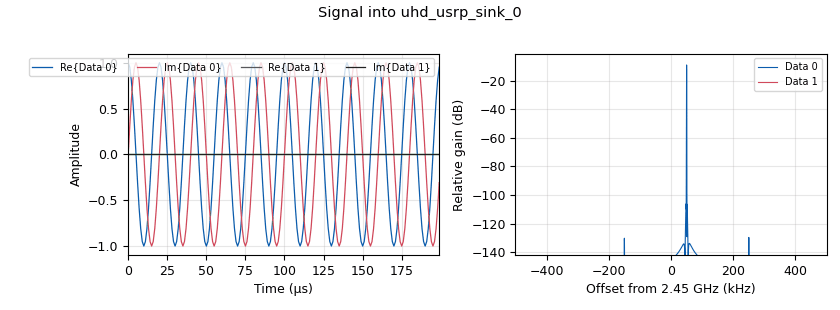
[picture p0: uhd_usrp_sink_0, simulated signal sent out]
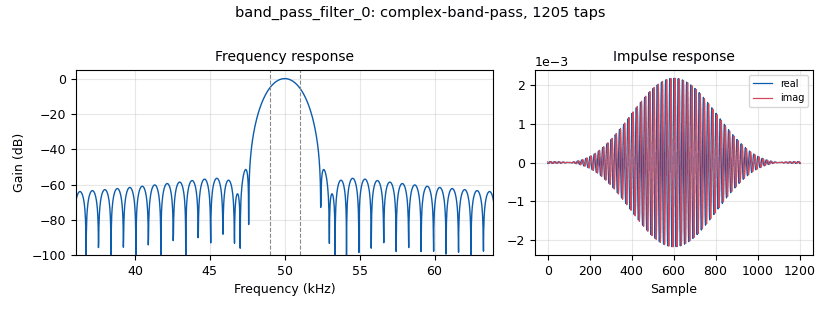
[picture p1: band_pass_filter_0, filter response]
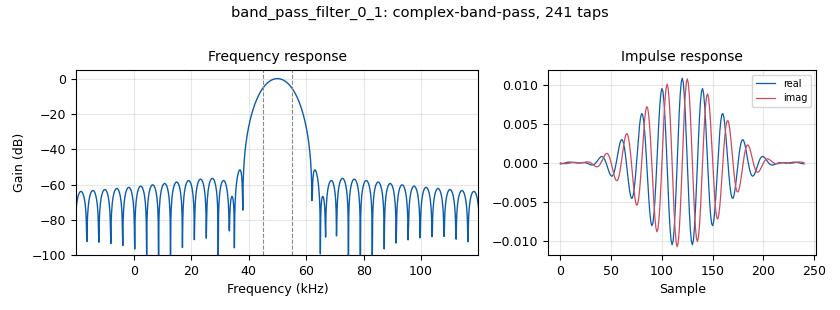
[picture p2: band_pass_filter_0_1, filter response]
options:
  parameters:
    generate_options: qt_gui
    id: run_save_phase_mag_corr_coeff_vals_filter_eval
    output_language: python
    title: Save phase mag correcting coefficient band-pas filter eval
  states: {}

blocks:
- name: center_frequency
  id: variable
  parameters:
    value: '2.45e+9'
  states: {}
- name: chan_bandwidth
  id: variable
  parameters:
    value: '500000'
  states: {}
- name: rx_gain
  id: variable
  parameters:
    value: '60'
  states: {}
- name: samp_rate
  id: variable
  parameters:
    value: '1000000'
  states: {}
- name: tx_gain
  id: variable
  parameters:
    value: '30'
  states: {}
- name: analog_sig_source_x_0
  id: analog_sig_source_x
  parameters:
    amp: '1'
    freq: 50e3
    offset: '0'
    phase: '0'
    samp_rate: samp_rate
    type: complex
    waveform: analog.GR_COS_WAVE
  states: {}
- name: aoa_calc_phase_diff_0
  id: aoa_calc_phase_diff
  parameters:
    node_idx: '1'
    norm_spacing: '0.5'
  states: {}
- name: aoa_calc_phase_diff_0_0
  id: aoa_calc_phase_diff
  parameters:
    node_idx: '1'
    norm_spacing: '0.5'
  states: {}
- name: aoa_calc_phase_diff_0_0_0
  id: aoa_calc_phase_diff
  parameters:
    node_idx: '1'
    norm_spacing: '0.5'
  states: {}
- name: band_pass_filter_0
  id: band_pass_filter
  parameters:
    decim: '1'
    gain: '1'
    high_cutoff_freq: 51e3
    low_cutoff_freq: 49e3
    samp_rate: samp_rate
    type: fir_filter_ccc
    width: 2e3
    win: firdes.WIN_HAMMING
  states: {}
- name: band_pass_filter_0_0
  id: band_pass_filter
  parameters:
    decim: '1'
    gain: '1'
    high_cutoff_freq: 51e3
    low_cutoff_freq: 49e3
    samp_rate: samp_rate
    type: fir_filter_ccc
    width: 2e3
    win: firdes.WIN_HAMMING
  states: {}
- name: band_pass_filter_0_1
  id: band_pass_filter
  parameters:
    decim: '1'
    gain: '1'
    high_cutoff_freq: 55e3
    low_cutoff_freq: 45e3
    samp_rate: samp_rate
    type: fir_filter_ccc
    width: 10e3
    win: firdes.WIN_HAMMING
  states: {}
- name: band_pass_filter_0_1_0
  id: band_pass_filter
  parameters:
    decim: '1'
    gain: '1'
    high_cutoff_freq: 55e3
    low_cutoff_freq: 45e3
    samp_rate: samp_rate
    type: fir_filter_ccc
    width: 10e3
    win: firdes.WIN_HAMMING
  states: {}
- name: blocks_complex_to_mag_0
  id: blocks_complex_to_mag
  parameters: {}
  states: {}
- name: blocks_complex_to_mag_0_0
  id: blocks_complex_to_mag
  parameters: {}
  states: {}
- name: blocks_complex_to_mag_0_0_0
  id: blocks_complex_to_mag
  parameters: {}
  states: {}
- name: blocks_complex_to_mag_0_0_0_0
  id: blocks_complex_to_mag
  parameters: {}
  states: {}
- name: blocks_complex_to_mag_0_1
  id: blocks_complex_to_mag
  parameters: {}
  states: {}
- name: blocks_complex_to_mag_0_1_0
  id: blocks_complex_to_mag
  parameters: {}
  states: {}
- name: blocks_divide_xx_0
  id: blocks_divide_xx
  parameters:
    type: float
  states: {}
- name: blocks_divide_xx_0_0
  id: blocks_divide_xx
  parameters:
    type: float
  states: {}
- name: blocks_divide_xx_0_0_0
  id: blocks_divide_xx
  parameters:
    type: float
  states: {}
- name: blocks_file_sink_0
  id: blocks_file_sink
  parameters:
    file: /home/marcin/Desktop/phase_shift_coeff_log.bin
    type: float
  states: {}
- name: blocks_file_sink_0_0
  id: blocks_file_sink
  parameters:
    file: /home/marcin/Desktop/mag_corr_coeff_log.bin
    type: float
  states: {}
- name: blocks_file_sink_0_0_0
  id: blocks_file_sink
  parameters:
    file: /home/marcin/Desktop/mag_corr_coeff_filtered_log.bin
    type: float
  states: {}
- name: blocks_file_sink_0_0_0_0
  id: blocks_file_sink
  parameters:
    file: /home/marcin/Desktop/mag_corr_coeff_sel_filtered_log.bin
    type: float
  states: {}
- name: blocks_file_sink_0_1
  id: blocks_file_sink
  parameters:
    file: /home/marcin/Desktop/phase_shift_coeff_filtered_log.bin
    type: float
  states: {}
- name: blocks_file_sink_0_1_0
  id: blocks_file_sink
  parameters:
    file: /home/marcin/Desktop/phase_shift_coeff_sel_filtered_log.bin
    type: float
  states: {}
- name: blocks_moving_average_xx_0_0
  id: blocks_moving_average_xx
  parameters:
    length: '10000'
    max_iter: '20000'
    scale: '0.0001'
    type: float
  states: {}
- name: blocks_moving_average_xx_0_0_0
  id: blocks_moving_average_xx
  parameters:
    length: '10000'
    max_iter: '20000'
    scale: '0.0001'
    type: float
  states: {}
- name: blocks_moving_average_xx_0_0_0_0
  id: blocks_moving_average_xx
  parameters:
    length: '10000'
    max_iter: '20000'
    scale: '0.0001'
    type: float
  states: {}
- name: blocks_moving_average_xx_0_0_0_0_0
  id: blocks_moving_average_xx
  parameters:
    length: '10000'
    max_iter: '20000'
    scale: '0.0001'
    type: float
  states: {}
- name: blocks_moving_average_xx_0_0_1
  id: blocks_moving_average_xx
  parameters:
    length: '10000'
    max_iter: '20000'
    scale: '0.0001'
    type: float
  states: {}
- name: blocks_moving_average_xx_0_0_1_0
  id: blocks_moving_average_xx
  parameters:
    length: '10000'
    max_iter: '20000'
    scale: '0.0001'
    type: float
  states: {}
- name: blocks_null_source_1
  id: blocks_null_source
  parameters:
    type: complex
  states: {}
- name: blocks_skiphead_0
  id: blocks_skiphead
  parameters:
    num_items: '500'
    type: float
  states: {}
- name: blocks_skiphead_0_0
  id: blocks_skiphead
  parameters:
    num_items: '500'
    type: float
  states: {}
- name: blocks_skiphead_0_0_0
  id: blocks_skiphead
  parameters:
    num_items: '1000000'
    type: complex
  states: {}
- name: blocks_skiphead_0_0_0_0
  id: blocks_skiphead
  parameters:
    num_items: '1000000'
    type: complex
  states: {}
- name: blocks_skiphead_0_0_1
  id: blocks_skiphead
  parameters:
    num_items: '500'
    type: float
  states: {}
- name: blocks_skiphead_0_0_1_0
  id: blocks_skiphead
  parameters:
    num_items: '500'
    type: float
  states: {}
- name: blocks_skiphead_0_1
  id: blocks_skiphead
  parameters:
    num_items: '500'
    type: float
  states: {}
- name: blocks_skiphead_0_1_0
  id: blocks_skiphead
  parameters:
    num_items: '500'
    type: float
  states: {}
- name: fir_filter_xxx_0
  id: fir_filter_xxx
  parameters:
    decim: '10000'
    taps: '1'
    type: fff
  states: {}
- name: fir_filter_xxx_0_0
  id: fir_filter_xxx
  parameters:
    decim: '10000'
    taps: '1'
    type: fff
  states: {}
- name: fir_filter_xxx_0_0_0
  id: fir_filter_xxx
  parameters:
    decim: '10000'
    taps: '1'
    type: fff
  states: {}
- name: fir_filter_xxx_0_0_0_0
  id: fir_filter_xxx
  parameters:
    decim: '10000'
    taps: '1'
    type: fff
  states: {}
- name: fir_filter_xxx_0_1
  id: fir_filter_xxx
  parameters:
    decim: '10000'
    taps: '1'
    type: fff
  states: {}
- name: fir_filter_xxx_0_1_0
  id: fir_filter_xxx
  parameters:
    decim: '10000'
    taps: '1'
    type: fff
  states: {}
- name: qtgui_freq_sink_x_0
  id: qtgui_freq_sink_x
  parameters:
    bw: samp_rate
    fc: center_frequency
    fftsize: '1024'
    label1: '''No filter'''
    label2: '''Filter'''
    label3: '''More selective filter'''
    nconnections: '3'
    type: complex
    wintype: firdes.WIN_HAMMING
  states: {}
- name: qtgui_number_sink_1
  id: qtgui_number_sink
  parameters:
    graph_type: qtgui.NUM_GRAPH_HORIZ
    label1: Phase 1
    label2: Phase 2
    label3: Phase 3
    max: '3'
    min: '-3'
    name: '"Phase shift coeffs"'
    nconnections: '3'
    type: float
  states: {}
- name: qtgui_number_sink_1_0
  id: qtgui_number_sink
  parameters:
    graph_type: qtgui.NUM_GRAPH_HORIZ
    label1: Mag 1
    label2: Mag 2
    label3: Mag 3
    max: '3'
    min: '0.5'
    name: '"Magnitude corr coeffs"'
    nconnections: '3'
    type: float
  states: {}
- name: uhd_usrp_sink_0
  id: uhd_usrp_sink
  parameters:
    ant0: TX/RX
    ant1: TX/RX
    bw0: chan_bandwidth
    bw1: chan_bandwidth
    center_freq0: center_frequency
    center_freq1: center_frequency
    dev_args: '""'
    gain0: tx_gain
    gain1: tx_gain
    len_tag_name: ''
    nchan: '2'
    norm_gain0: 'False'
    norm_gain1: 'False'
    samp_rate: samp_rate
    sync: sync
    type: fc32
  states: {}
- name: uhd_usrp_source_0_0
  id: uhd_usrp_source
  parameters:
    ant0: RX2
    ant1: RX2
    bw0: samp_rate
    bw1: samp_rate
    center_freq0: center_frequency
    center_freq1: center_frequency
    clock_source0: internal
    dc_offs_enb0: 'True'
    dc_offs_enb1: 'True'
    dev_args: '""'
    gain0: rx_gain
    gain1: rx_gain
    iq_imbal_enb0: 'True'
    iq_imbal_enb1: 'True'
    nchan: '2'
    norm_gain0: 'False'
    norm_gain1: 'False'
    samp_rate: samp_rate
    sync: pc_clock
    type: fc32
  states: {}

connections:
- [analog_sig_source_x_0, '0', uhd_usrp_sink_0, '0']
- [aoa_calc_phase_diff_0, '0', blocks_moving_average_xx_0_0, '0']
- [aoa_calc_phase_diff_0_0, '0', blocks_moving_average_xx_0_0_1, '0']
- [aoa_calc_phase_diff_0_0_0, '0', blocks_moving_average_xx_0_0_1_0, '0']
- [band_pass_filter_0, '0', aoa_calc_phase_diff_0_0_0, '0']
- [band_pass_filter_0, '0', blocks_complex_to_mag_0_0_0_0, '0']
- [band_pass_filter_0, '0', qtgui_freq_sink_x_0, '2']
- [band_pass_filter_0_0, '0', aoa_calc_phase_diff_0_0_0, '1']
- [band_pass_filter_0_0, '0', blocks_complex_to_mag_0_1_0, '0']
- [band_pass_filter_0_1, '0', aoa_calc_phase_diff_0_0, '0']
- [band_pass_filter_0_1, '0', blocks_complex_to_mag_0_1, '0']
- [band_pass_filter_0_1, '0', qtgui_freq_sink_x_0, '1']
- [band_pass_filter_0_1_0, '0', aoa_calc_phase_diff_0_0, '1']
- [band_pass_filter_0_1_0, '0', blocks_complex_to_mag_0_0_0, '0']
- [blocks_complex_to_mag_0, '0', blocks_divide_xx_0, '0']
- [blocks_complex_to_mag_0_0, '0', blocks_divide_xx_0, '1']
- [blocks_complex_to_mag_0_0_0, '0', blocks_divide_xx_0_0, '1']
- [blocks_complex_to_mag_0_0_0_0, '0', blocks_divide_xx_0_0_0, '0']
- [blocks_complex_to_mag_0_1, '0', blocks_divide_xx_0_0, '0']
- [blocks_complex_to_mag_0_1_0, '0', blocks_divide_xx_0_0_0, '1']
- [blocks_divide_xx_0, '0', blocks_moving_average_xx_0_0_0, '0']
- [blocks_divide_xx_0_0, '0', blocks_moving_average_xx_0_0_0_0, '0']
- [blocks_divide_xx_0_0_0, '0', blocks_moving_average_xx_0_0_0_0_0, '0']
- [blocks_moving_average_xx_0_0, '0', fir_filter_xxx_0, '0']
- [blocks_moving_average_xx_0_0_0, '0', fir_filter_xxx_0_0, '0']
- [blocks_moving_average_xx_0_0_0_0, '0', fir_filter_xxx_0_0_0, '0']
- [blocks_moving_average_xx_0_0_0_0_0, '0', fir_filter_xxx_0_0_0_0, '0']
- [blocks_moving_average_xx_0_0_1, '0', fir_filter_xxx_0_1, '0']
- [blocks_moving_average_xx_0_0_1_0, '0', fir_filter_xxx_0_1_0, '0']
- [blocks_null_source_1, '0', uhd_usrp_sink_0, '1']
- [blocks_skiphead_0, '0', blocks_file_sink_0, '0']
- [blocks_skiphead_0, '0', qtgui_number_sink_1, '0']
- [blocks_skiphead_0_0, '0', blocks_file_sink_0_0, '0']
- [blocks_skiphead_0_0, '0', qtgui_number_sink_1_0, '0']
- [blocks_skiphead_0_0_0, '0', aoa_calc_phase_diff_0, '0']
- [blocks_skiphead_0_0_0, '0', band_pass_filter_0, '0']
- [blocks_skiphead_0_0_0, '0', band_pass_filter_0_1, '0']
- [blocks_skiphead_0_0_0, '0', blocks_complex_to_mag_0, '0']
- [blocks_skiphead_0_0_0, '0', qtgui_freq_sink_x_0, '0']
- [blocks_skiphead_0_0_0_0, '0', aoa_calc_phase_diff_0, '1']
- [blocks_skiphead_0_0_0_0, '0', band_pass_filter_0_0, '0']
- [blocks_skiphead_0_0_0_0, '0', band_pass_filter_0_1_0, '0']
- [blocks_skiphead_0_0_0_0, '0', blocks_complex_to_mag_0_0, '0']
- [blocks_skiphead_0_0_1, '0', blocks_file_sink_0_0_0, '0']
- [blocks_skiphead_0_0_1, '0', qtgui_number_sink_1_0, '1']
- [blocks_skiphead_0_0_1_0, '0', blocks_file_sink_0_0_0_0, '0']
- [blocks_skiphead_0_0_1_0, '0', qtgui_number_sink_1_0, '2']
- [blocks_skiphead_0_1, '0', blocks_file_sink_0_1, '0']
- [blocks_skiphead_0_1, '0', qtgui_number_sink_1, '1']
- [blocks_skiphead_0_1_0, '0', blocks_file_sink_0_1_0, '0']
- [blocks_skiphead_0_1_0, '0', qtgui_number_sink_1, '2']
- [fir_filter_xxx_0, '0', blocks_skiphead_0, '0']
- [fir_filter_xxx_0_0, '0', blocks_skiphead_0_0, '0']
- [fir_filter_xxx_0_0_0, '0', blocks_skiphead_0_0_1, '0']
- [fir_filter_xxx_0_0_0_0, '0', blocks_skiphead_0_0_1_0, '0']
- [fir_filter_xxx_0_1, '0', blocks_skiphead_0_1, '0']
- [fir_filter_xxx_0_1_0, '0', blocks_skiphead_0_1_0, '0']
- [uhd_usrp_source_0_0, '0', blocks_skiphead_0_0_0, '0']
- [uhd_usrp_source_0_0, '1', blocks_skiphead_0_0_0_0, '0']

metadata:
  file_format: 1
